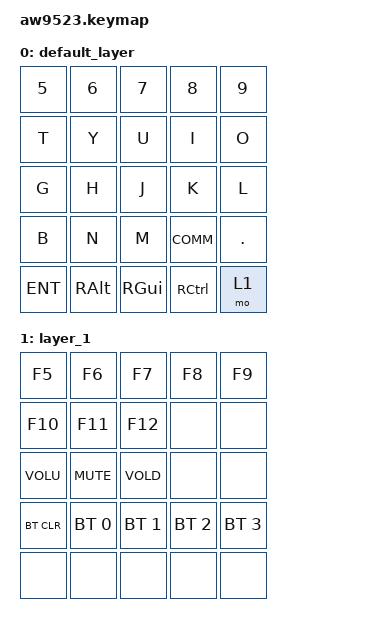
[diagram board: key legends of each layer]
#include <behaviors.dtsi>
#include <dt-bindings/zmk/keys.h>
#include <dt-bindings/zmk/bt.h>

/ {
    keymap {
        compatible = "zmk,keymap";

        // 默认层（Base Layer）：对应AW9523B P10~P14行/P00~P04列
        default_layer {
            bindings = <
                &kp 5     &kp 6     &kp 7     &kp 8     &kp 9
                &kp T     &kp Y     &kp U     &kp I     &kp O
                &kp G     &kp H     &kp J     &kp K     &kp L
                &kp B     &kp N     &kp M     &kp COMM  &kp DOT
                &kp ENT   &kp RALT  &kp RGUI  &kp RCTRL &mo 1  // 按住切换功能层
            >;
        };

        // 功能层1（Function Layer）
        layer_1 {
            bindings = <
                &kp F5    &kp F6    &kp F7    &kp F8    &kp F9
                &kp F10   &kp F11   &kp F12   &none     &none
                &kp VOLU  &kp MUTE  &kp VOLD  &none     &none
                &bt BT_CLR &bt BT_SEL 0 &bt BT_SEL 1 &bt BT_SEL 2 &bt BT_SEL 3
                &none     &none     &none     &none     &none
            >;
        };
    };
};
